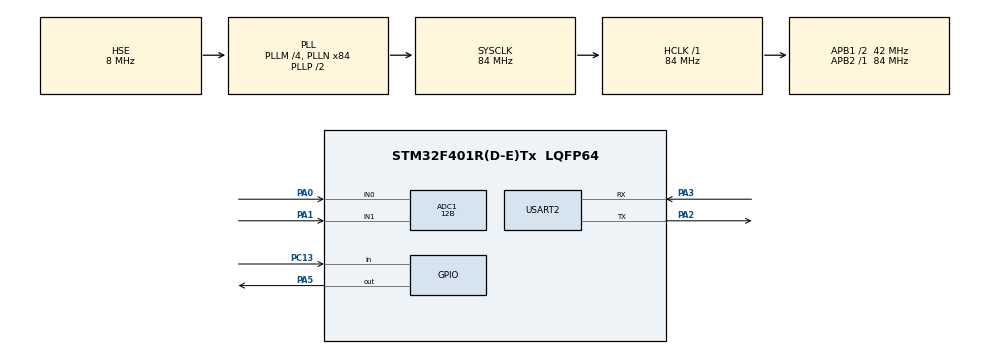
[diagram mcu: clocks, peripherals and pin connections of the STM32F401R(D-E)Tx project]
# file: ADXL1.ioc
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ADC1.Channel-0\#ChannelRegularConversion=ADC_CHANNEL_0
ADC1.Channel-1\#ChannelRegularConversion=ADC_CHANNEL_1
ADC1.ClockPrescaler=ADC_CLOCK_SYNC_PCLK_DIV4
ADC1.ContinuousConvMode=ENABLE
ADC1.DMAContinuousRequests=ENABLE
ADC1.EOCSelection=ADC_EOC_SEQ_CONV
ADC1.ExternalTrigConv=ADC_SOFTWARE_START
ADC1.NbrOfConversion=2
ADC1.NbrOfConversionFlag=1
ADC1.Rank-0\#ChannelRegularConversion=1
ADC1.Rank-1\#ChannelRegularConversion=2
ADC1.Resolution=ADC_RESOLUTION_12B
ADC1.SamplingTime-0\#ChannelRegularConversion=ADC_SAMPLETIME_28CYCLES
ADC1.SamplingTime-1\#ChannelRegularConversion=ADC_SAMPLETIME_28CYCLES
ADC1.ScanConvMode=ENABLE
ADC1.master=1
Dma.ADC1.0.Direction=DMA_PERIPH_TO_MEMORY
Dma.ADC1.0.FIFOMode=DMA_FIFOMODE_DISABLE
Dma.ADC1.0.Instance=DMA2_Stream0
Dma.ADC1.0.MemDataAlignment=DMA_MDATAALIGN_WORD
Dma.ADC1.0.MemInc=DMA_MINC_ENABLE
Dma.ADC1.0.Mode=DMA_CIRCULAR
Dma.ADC1.0.PeriphDataAlignment=DMA_PDATAALIGN_WORD
Dma.ADC1.0.PeriphInc=DMA_PINC_DISABLE
Dma.ADC1.0.Priority=DMA_PRIORITY_LOW
Dma.Request0=ADC1
Mcu.Family=STM32F4
Mcu.Name=STM32F401R(D-E)Tx
Mcu.Package=LQFP64
NVIC.ADC_IRQn=true\:0\:0\:false\:false\:true\:true\:true\:true
NVIC.DMA2_Stream0_IRQn=true\:0\:0\:false\:false\:true\:false\:true\:true
NVIC.PriorityGroup=NVIC_PRIORITYGROUP_0
NVIC.TIM2_IRQn=true\:0\:0\:false\:false\:true\:true\:true\:true
PA0-WKUP.Signal=ADCx_IN0
PA1.Signal=ADCx_IN1
PA13.Mode=Serial_Wire
PA13.Signal=SYS_JTMS-SWDIO
PA14.Mode=Serial_Wire
PA14.Signal=SYS_JTCK-SWCLK
PA2.Mode=Asynchronous
PA2.Signal=USART2_TX
PA3.Mode=Asynchronous
PA3.Signal=USART2_RX
PA5.Signal=GPIO_Output
PC13-ANTI_TAMP.Signal=GPIO_Input
PH0\ -\ OSC_IN.Mode=HSE-External-Oscillator
PH0\ -\ OSC_IN.Signal=RCC_OSC_IN
PH1\ -\ OSC_OUT.Mode=HSE-External-Oscillator
PH1\ -\ OSC_OUT.Signal=RCC_OSC_OUT
ProjectManager.HeapSize=0x200
ProjectManager.StackSize=0x400
ProjectManager.TargetToolchain=STM32CubeIDE
RCC.48MHZClocksFreq_Value=24000000
RCC.AHBFreq_Value=84000000
RCC.APB1CLKDivider=RCC_HCLK_DIV2
RCC.APB1Freq_Value=42000000
RCC.APB1TimFreq_Value=84000000
RCC.APB2Freq_Value=84000000
RCC.APB2TimFreq_Value=84000000
RCC.CortexFreq_Value=84000000
RCC.HCLKFreq_Value=84000000
RCC.HSE_VALUE=8000000
RCC.HSI_VALUE=16000000
RCC.LSE_VALUE=32768
RCC.PLLM=4
RCC.PLLN=84
RCC.PLLQ=7
RCC.PLLSourceVirtual=RCC_PLLSOURCE_HSE
RCC.SYSCLKFreq_VALUE=84000000
RCC.SYSCLKSource=RCC_SYSCLKSOURCE_PLLCLK
RCC.VCOOutputFreq_Value=168000000
SH.ADCx_IN0.0=ADC1_IN0,IN0
SH.ADCx_IN1.0=ADC1_IN1,IN1
TIM2.Period=65536-1
TIM2.Prescaler=8400-1
TIM2.TIM_MasterOutputTrigger=TIM_TRGO_UPDATE
USART2.VirtualMode=VM_ASYNC
VP_TIM2_VS_ClockSourceINT.Mode=Internal
board=NUCLEO-F401RE

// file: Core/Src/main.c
/* USER CODE BEGIN Header */
/**
  ******************************************************************************
  * @file           : main.c
  * @brief          : Main program body
  ******************************************************************************
  * @attention
  *
  * Copyright (c) 2023 STMicroelectronics.
  * All rights reserved.
  *
  * This software is licensed under terms that can be found in the LICENSE file
  * in the root directory of this software component.
  * If no LICENSE file comes with this software, it is provided AS-IS.
  *
  ******************************************************************************
  */
/* USER CODE END Header */
#include "main.h"

/* USER CODE BEGIN Includes */
#include <string.h>
#include <stdio.h>
/* USER CODE END Includes */

ADC_HandleTypeDef hadc1;
DMA_HandleTypeDef hdma_adc1;

TIM_HandleTypeDef htim2;

UART_HandleTypeDef huart2;

/* USER CODE BEGIN PV */
#define SampleSize 4096
const float alpha = 0.1;
double lastAvg = 0;
double Xsum = 0.0;
double Ysum = 0.0;
uint32_t adcVal[2];
double Sensor1Values[SampleSize];
double XFinalValues[SampleSize];
double Sensor2Values[SampleSize];
double YFinalValues[SampleSize];
double Xaverage;
double Yaverage;
uint32_t counter;
char adc_flag;
uint32_t get_time;
/* USER CODE END PV */

void SystemClock_Config(void);
static void MX_GPIO_Init(void);
static void MX_DMA_Init(void);
static void MX_ADC1_Init(void);
static void MX_USART2_UART_Init(void);
static void MX_TIM2_Init(void);

/* USER CODE BEGIN 0 */

/*
#define MOVING_AVERAGE_SIZE 200
double XanalogBuffer[MOVING_AVERAGE_SIZE];
int bufferIndex = 0;
double reference_voltage = 3.3;
int adc_resolution = 4095;
double bias_offset = 1.65;
double sensitivity = 0.3;
*/

double XAvg(double values[], int numValues)
{
    double sum = 0.0;
    for (int i = 0; i < numValues; i++)
    {
        sum = sum + values[i];
    }
    return sum / numValues;
}

void subtraction(double values[], double average, int numValues, double result[]){
	for (int i = 0;  i < numValues; i++) {
		result[i]=values[i]-average;
	}
}

/* USER CODE END 0 */

int main(void)
{

  /* MCU Configuration--------------------------------------------------------*/

  /* Reset of all peripherals, Initializes the Flash interface and the Systick. */
  HAL_Init();

  /* Configure the system clock */
  SystemClock_Config();

  /* Initialize all configured peripherals */
  MX_GPIO_Init();
  MX_DMA_Init();
  MX_ADC1_Init();
  MX_USART2_UART_Init();
  MX_TIM2_Init();
  /* USER CODE BEGIN 2 */
//HAL_TIM_Base_Init(&htim2);
  //Start ADC after timer
 HAL_ADC_Start_DMA(&hadc1,adcVal,2);
  /* USER CODE END 2 */

  /* Infinite loop */
  while (1)
  {

  }
}

void SystemClock_Config(void)
{
  RCC_OscInitTypeDef RCC_OscInitStruct = {0};
  RCC_ClkInitTypeDef RCC_ClkInitStruct = {0};

  /** Configure the main internal regulator output voltage
  */
  __HAL_RCC_PWR_CLK_ENABLE();
  __HAL_PWR_VOLTAGESCALING_CONFIG(PWR_REGULATOR_VOLTAGE_SCALE2);

  /** Initializes the RCC Oscillators according to the specified parameters
  * in the RCC_OscInitTypeDef structure.
  */
  RCC_OscInitStruct.OscillatorType = RCC_OSCILLATORTYPE_HSE;
  RCC_OscInitStruct.HSEState = RCC_HSE_ON;
  RCC_OscInitStruct.PLL.PLLState = RCC_PLL_ON;
  RCC_OscInitStruct.PLL.PLLSource = RCC_PLLSOURCE_HSE;
  RCC_OscInitStruct.PLL.PLLM = 4;
  RCC_OscInitStruct.PLL.PLLN = 84;
  RCC_OscInitStruct.PLL.PLLP = RCC_PLLP_DIV2;
  RCC_OscInitStruct.PLL.PLLQ = 7;
  if (HAL_RCC_OscConfig(&RCC_OscInitStruct) != HAL_OK)
  {
    Error_Handler();
  }

  /** Initializes the CPU, AHB and APB buses clocks
  */
  RCC_ClkInitStruct.ClockType = RCC_CLOCKTYPE_HCLK|RCC_CLOCKTYPE_SYSCLK
                              |RCC_CLOCKTYPE_PCLK1|RCC_CLOCKTYPE_PCLK2;
  RCC_ClkInitStruct.SYSCLKSource = RCC_SYSCLKSOURCE_PLLCLK;
  RCC_ClkInitStruct.AHBCLKDivider = RCC_SYSCLK_DIV1;
  RCC_ClkInitStruct.APB1CLKDivider = RCC_HCLK_DIV2;
  RCC_ClkInitStruct.APB2CLKDivider = RCC_HCLK_DIV1;

  if (HAL_RCC_ClockConfig(&RCC_ClkInitStruct, FLASH_LATENCY_2) != HAL_OK)
  {
    Error_Handler();
  }
}

static void MX_ADC1_Init(void)
{

  ADC_ChannelConfTypeDef sConfig = {0};

  /** Configure the global features of the ADC (Clock, Resolution, Data Alignment and number of conversion)
  */
  hadc1.Instance = ADC1;
  hadc1.Init.ClockPrescaler = ADC_CLOCK_SYNC_PCLK_DIV4;
  hadc1.Init.Resolution = ADC_RESOLUTION_12B;
  hadc1.Init.ScanConvMode = ENABLE;
  hadc1.Init.ContinuousConvMode = ENABLE;
  hadc1.Init.DiscontinuousConvMode = DISABLE;
  hadc1.Init.ExternalTrigConvEdge = ADC_EXTERNALTRIGCONVEDGE_NONE;
  hadc1.Init.ExternalTrigConv = ADC_SOFTWARE_START;
  hadc1.Init.DataAlign = ADC_DATAALIGN_RIGHT;
  hadc1.Init.NbrOfConversion = 2;
  hadc1.Init.DMAContinuousRequests = ENABLE;
  hadc1.Init.EOCSelection = ADC_EOC_SEQ_CONV;
  if (HAL_ADC_Init(&hadc1) != HAL_OK)
  {
    Error_Handler();
  }

  /** Configure for the selected ADC regular channel its corresponding rank in the sequencer and its sample time.
  */
  sConfig.Channel = ADC_CHANNEL_0;
  sConfig.Rank = 1;
  sConfig.SamplingTime = ADC_SAMPLETIME_28CYCLES;
  if (HAL_ADC_ConfigChannel(&hadc1, &sConfig) != HAL_OK)
  {
    Error_Handler();
  }

  /** Configure for the selected ADC regular channel its corresponding rank in the sequencer and its sample time.
  */
  sConfig.Channel = ADC_CHANNEL_1;
  sConfig.Rank = 2;
  if (HAL_ADC_ConfigChannel(&hadc1, &sConfig) != HAL_OK)
  {
    Error_Handler();
  }

}

static void MX_TIM2_Init(void)
{

  TIM_ClockConfigTypeDef sClockSourceConfig = {0};
  TIM_MasterConfigTypeDef sMasterConfig = {0};

  htim2.Instance = TIM2;
  htim2.Init.Prescaler = 8400-1;
  htim2.Init.CounterMode = TIM_COUNTERMODE_UP;
  htim2.Init.Period = 65536-1;
  htim2.Init.ClockDivision = TIM_CLOCKDIVISION_DIV1;
  htim2.Init.AutoReloadPreload = TIM_AUTORELOAD_PRELOAD_DISABLE;
  if (HAL_TIM_Base_Init(&htim2) != HAL_OK)
  {
    Error_Handler();
  }
  sClockSourceConfig.ClockSource = TIM_CLOCKSOURCE_INTERNAL;
  if (HAL_TIM_ConfigClockSource(&htim2, &sClockSourceConfig) != HAL_OK)
  {
    Error_Handler();
  }
  sMasterConfig.MasterOutputTrigger = TIM_TRGO_UPDATE;
  sMasterConfig.MasterSlaveMode = TIM_MASTERSLAVEMODE_DISABLE;
  if (HAL_TIMEx_MasterConfigSynchronization(&htim2, &sMasterConfig) != HAL_OK)
  {
    Error_Handler();
  }

}

static void MX_USART2_UART_Init(void)
{

  huart2.Instance = USART2;
  huart2.Init.BaudRate = 115200;
  huart2.Init.WordLength = UART_WORDLENGTH_8B;
  huart2.Init.StopBits = UART_STOPBITS_1;
  huart2.Init.Parity = UART_PARITY_NONE;
  huart2.Init.Mode = UART_MODE_TX_RX;
  huart2.Init.HwFlowCtl = UART_HWCONTROL_NONE;
  huart2.Init.OverSampling = UART_OVERSAMPLING_16;
  if (HAL_UART_Init(&huart2) != HAL_OK)
  {
    Error_Handler();
  }

}

static void MX_DMA_Init(void)
{

  /* DMA controller clock enable */
  __HAL_RCC_DMA2_CLK_ENABLE();

  /* DMA interrupt init */
  /* DMA2_Stream0_IRQn interrupt configuration */
  HAL_NVIC_SetPriority(DMA2_Stream0_IRQn, 0, 0);
  HAL_NVIC_EnableIRQ(DMA2_Stream0_IRQn);

}

static void MX_GPIO_Init(void)
{
  GPIO_InitTypeDef GPIO_InitStruct = {0};

  /* GPIO Ports Clock Enable */
  __HAL_RCC_GPIOC_CLK_ENABLE();
  __HAL_RCC_GPIOH_CLK_ENABLE();
  __HAL_RCC_GPIOA_CLK_ENABLE();

  /*Configure GPIO pin Output Level */
  HAL_GPIO_WritePin(GPIOA, GPIO_PIN_5, GPIO_PIN_RESET);

  /*Configure GPIO pin : PC13 */
  GPIO_InitStruct.Pin = GPIO_PIN_13;
  GPIO_InitStruct.Mode = GPIO_MODE_INPUT;
  GPIO_InitStruct.Pull = GPIO_NOPULL;
  HAL_GPIO_Init(GPIOC, &GPIO_InitStruct);

  /*Configure GPIO pin : PA5 */
  GPIO_InitStruct.Pin = GPIO_PIN_5;
  GPIO_InitStruct.Mode = GPIO_MODE_OUTPUT_PP;
  GPIO_InitStruct.Pull = GPIO_NOPULL;
  GPIO_InitStruct.Speed = GPIO_SPEED_FREQ_LOW;
  HAL_GPIO_Init(GPIOA, &GPIO_InitStruct);

}

/* USER CODE BEGIN 4 */
void HAL_ADC_ConvCpltCallback(ADC_HandleTypeDef* hadc)
{

	  counter++;
	  adc_flag=1;

	  if (counter < SampleSize && adc_flag == 1)
	  {
		  Sensor1Values[counter] = adcVal[0];
		  Sensor2Values[counter] = adcVal[1];
		  char buffer[100];
		  snprintf(buffer, sizeof(buffer),"Sensor1Values[%lu] : %.2f, Sensor2Values[%lu] : %.2f\r\n", (unsigned long)counter, Sensor1Values[counter], (unsigned long)counter, Sensor2Values[counter]);
		  HAL_UART_Transmit(&huart2, (uint8_t *)buffer, strlen(buffer), HAL_MAX_DELAY);
	  }
	  if(counter == SampleSize)
	  {
		  get_time=HAL_GetTick();
		  char buffer1[100];
		  sprintf(buffer1, "time elapsed = %lu\r\n", (unsigned long)get_time);
		  HAL_UART_Transmit(&huart2, (uint8_t *)buffer1, strlen(buffer1), HAL_MAX_DELAY);
	  }

	        /*
	        if (counter == SampleSize-1)
	        {
	            Xsum = 0.0;
	            Ysum = 0.0;
	            for (int i = 0; i < SampleSize; i++)
	            {
	                Xsum += Sensor1Values[i];
	                Ysum += Sensor2Values[i];
	            }
	            Xaverage = Xsum / SampleSize;
	            Yaverage = Ysum / SampleSize;
	            char buffer1[100];
	            snprintf(buffer1, sizeof(buffer1),"Sensor1Avg : %.2f, Sensor2Avg : %.2f\r\n", Xaverage, Yaverage);
	            HAL_UART_Transmit(&huart2, (uint8_t *)buffer1, strlen(buffer1), HAL_MAX_DELAY);
	        }

	            for (int j = 1; j < SampleSize; j++)
	            {
	            	XFinalValues[j] = XanalogValues[j] - Xaverage;
	            	YFinalValues[j] = YanalogValues[j] - Yaverage;
	            	char buffer2[100];
	            	snprintf(buffer2, sizeof(buffer2), "XFinalValues[%d] : %4.2f, YFinalValues[%d] : %4.2f\r\n", j, XFinalValues[j],j, YFinalValues[j]);
	            	HAL_UART_Transmit(&huart2, (uint8_t *)buffer2, strlen(buffer2), HAL_MAX_DELAY);
	            }
	        }*/

}

int _write(int file, char *ptr, int len)
{
  (void)file;
  int DataIdx;

  for (DataIdx = 0; DataIdx < len; DataIdx++)
  {
    ITM_SendChar(*ptr++);
  }
  return len;
}
/* USER CODE END 4 */

void Error_Handler(void)
{
  __disable_irq();
  while (1)
  {
  }
}
